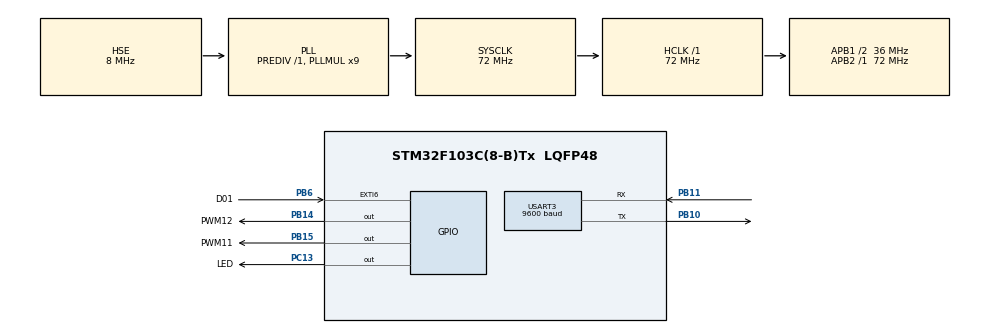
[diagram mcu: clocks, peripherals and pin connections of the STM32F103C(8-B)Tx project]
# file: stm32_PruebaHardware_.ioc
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Mcu.Family=STM32F1
Mcu.Name=STM32F103C(8-B)Tx
Mcu.Package=LQFP48
NVIC.EXTI9_5_IRQn=true\:0\:0\:false\:false\:true\:true\:true
NVIC.PriorityGroup=NVIC_PRIORITYGROUP_4
PA13.Mode=Serial_Wire
PA13.Signal=SYS_JTMS-SWDIO
PA14.Mode=Serial_Wire
PA14.Signal=SYS_JTCK-SWCLK
PB10.Mode=Asynchronous
PB10.Signal=USART3_TX
PB11.Mode=Asynchronous
PB11.Signal=USART3_RX
PB14.GPIO_Label=PWM12
PB14.Signal=GPIO_Output
PB15.GPIO_Label=PWM11
PB15.Signal=GPIO_Output
PB6.GPIO_Label=D01
PB6.Signal=GPXTI6
PC13-TAMPER-RTC.GPIO_Label=LED
PC13-TAMPER-RTC.Signal=GPIO_Output
PD0-OSC_IN.Mode=HSE-External-Oscillator
PD0-OSC_IN.Signal=RCC_OSC_IN
PD1-OSC_OUT.Mode=HSE-External-Oscillator
PD1-OSC_OUT.Signal=RCC_OSC_OUT
ProjectManager.HeapSize=0x200
ProjectManager.StackSize=0x400
ProjectManager.TargetToolchain=STM32CubeIDE
RCC.AHBFreq_Value=72000000
RCC.APB1CLKDivider=RCC_HCLK_DIV2
RCC.APB1Freq_Value=36000000
RCC.APB1TimFreq_Value=72000000
RCC.APB2Freq_Value=72000000
RCC.APB2TimFreq_Value=72000000
RCC.HCLKFreq_Value=72000000
RCC.PLLMUL=RCC_PLL_MUL9
RCC.PLLSourceVirtual=RCC_PLLSOURCE_HSE
RCC.SYSCLKFreq_VALUE=72000000
RCC.SYSCLKSource=RCC_SYSCLKSOURCE_PLLCLK
RCC.USBFreq_Value=72000000
TIM1.AutoReloadPreload=TIM_AUTORELOAD_PRELOAD_ENABLE
TIM1.Period=10000
TIM1.Prescaler=7200-1
TIM1.RepetitionCounter=0
TIM2.AutoReloadPreload=TIM_AUTORELOAD_PRELOAD_ENABLE
TIM2.ClockDivision=TIM_CLOCKDIVISION_DIV1
TIM2.Period=65535
TIM2.Prescaler=720-1
USART3.BaudRate=9600
USART3.VirtualMode=VM_ASYNC
VP_TIM1_VS_ClockSourceINT.Mode=Internal
VP_TIM2_VS_ClockSourceINT.Mode=Internal
board=custom

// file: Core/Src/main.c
/* USER CODE BEGIN Header */
/**
  ******************************************************************************
  * @file           : main.c
  * @brief          : Main program body
  ******************************************************************************
  * @attention
  *
  * <h2><center>&copy; Copyright (c) 2021 STMicroelectronics.
  * All rights reserved.</center></h2>
  *
  * This software component is licensed by ST under BSD 3-Clause license,
  * the "License"; You may not use this file except in compliance with the
  * License. You may obtain a copy of the License at:
  *                        opensource.org/licenses/BSD-3-Clause
  *
  ******************************************************************************
  */
/* USER CODE END Header */
#include "main.h"

/* USER CODE BEGIN Includes */

#include "stdio.h"
#include "string.h"
#include "stdlib.h"

/* USER CODE END Includes */

TIM_HandleTypeDef htim1;
TIM_HandleTypeDef htim2;

UART_HandleTypeDef huart3;

void SystemClock_Config(void);
static void MX_GPIO_Init(void);
static void MX_TIM1_Init(void);
static void MX_USART3_UART_Init(void);
static void MX_TIM2_Init(void);

/* USER CODE BEGIN 0 */

uint16_t ms = 1;
uint16_t pulsoprev = 0;
uint16_t pulsoact = 0;
float pi = 3.1415926; // El buen pi
//int P = 30; // Cantidad de agujeros del encoder
int Fss = 4.0; // Hz
float w1 = 0; // Velocidad en radianes por segundo (a priori)
int i=0;

int encoder = 0;
float W = 0;
char a[10];
int timer2  = 0;
char buf [8],buf1 [8];

/* USER CODE END 0 */

int main(void)
{

  /* MCU Configuration--------------------------------------------------------*/

  /* Reset of all peripherals, Initializes the Flash interface and the Systick. */
  HAL_Init();

  /* Configure the system clock */
  SystemClock_Config();

  /* Initialize all configured peripherals */
  MX_GPIO_Init();
  MX_TIM1_Init();
  MX_USART3_UART_Init();
  MX_TIM2_Init();
  /* USER CODE BEGIN 2 */

	HAL_TIM_PWM_Start(&htim1, TIM_CHANNEL_1); // Inicio las 4 PWM
//	HAL_TIM_PWM_Start(&htim1, TIM_CHANNEL_2);
//	HAL_TIM_PWM_Start(&htim1, TIM_CHANNEL_3);
//	HAL_TIM_PWM_Start(&htim1, TIM_CHANNEL_4);

	HAL_TIM_Base_Start_IT(&htim2);

	// Doy direccion de giro a los motores:
	HAL_GPIO_WritePin(PWM11_GPIO_Port, PWM11_Pin, GPIO_PIN_SET);
	HAL_GPIO_WritePin(PWM12_GPIO_Port, PWM12_Pin, GPIO_PIN_RESET);

  /* USER CODE END 2 */

  /* Infinite loop */
	while (1)
	{

    /* USER CODE BEGIN 3 */

//		htim1.Instance->CCR1 = 0;
//		htim1.Instance->CCR2 = 0;
//		htim1.Instance->CCR3 = 0;
//		htim1.Instance->CCR4 = 0;
//		htim1.Instance->CCR1 = 10000;
//		htim1.Instance->CCR2 = 10000;
//		htim1.Instance->CCR3 = 10000;
//		htim1.Instance->CCR4 = 10000;
//		HAL_Delay(1000);
//		htim1.Instance->CCR1 = 19999;
//		htim1.Instance->CCR2 = 19999;
//		htim1.Instance->CCR3 = 19999;
//		htim1.Instance->CCR4 = 19999;

		//HAL_Delay(1000);

//		timer2 = __HAL_TIM_GET_COUNTER(&htim2);
//		sprintf(buf,"Registro timer2: %d\n",timer2);
//		HAL_UART_Transmit(&huart3, (uint8_t *)buf, sizeof(buf), 100);

		HAL_GPIO_TogglePin(LED_GPIO_Port, LED_Pin);
	}
  /* USER CODE END 3 */
}

void SystemClock_Config(void)
{
  RCC_OscInitTypeDef RCC_OscInitStruct = {0};
  RCC_ClkInitTypeDef RCC_ClkInitStruct = {0};

  /** Initializes the RCC Oscillators according to the specified parameters
  * in the RCC_OscInitTypeDef structure.
  */
  RCC_OscInitStruct.OscillatorType = RCC_OSCILLATORTYPE_HSE;
  RCC_OscInitStruct.HSEState = RCC_HSE_ON;
  RCC_OscInitStruct.HSEPredivValue = RCC_HSE_PREDIV_DIV1;
  RCC_OscInitStruct.HSIState = RCC_HSI_ON;
  RCC_OscInitStruct.PLL.PLLState = RCC_PLL_ON;
  RCC_OscInitStruct.PLL.PLLSource = RCC_PLLSOURCE_HSE;
  RCC_OscInitStruct.PLL.PLLMUL = RCC_PLL_MUL9;
  if (HAL_RCC_OscConfig(&RCC_OscInitStruct) != HAL_OK)
  {
    Error_Handler();
  }
  /** Initializes the CPU, AHB and APB buses clocks
  */
  RCC_ClkInitStruct.ClockType = RCC_CLOCKTYPE_HCLK|RCC_CLOCKTYPE_SYSCLK
                              |RCC_CLOCKTYPE_PCLK1|RCC_CLOCKTYPE_PCLK2;
  RCC_ClkInitStruct.SYSCLKSource = RCC_SYSCLKSOURCE_PLLCLK;
  RCC_ClkInitStruct.AHBCLKDivider = RCC_SYSCLK_DIV1;
  RCC_ClkInitStruct.APB1CLKDivider = RCC_HCLK_DIV2;
  RCC_ClkInitStruct.APB2CLKDivider = RCC_HCLK_DIV1;

  if (HAL_RCC_ClockConfig(&RCC_ClkInitStruct, FLASH_LATENCY_2) != HAL_OK)
  {
    Error_Handler();
  }
}

static void MX_TIM1_Init(void)
{

  TIM_ClockConfigTypeDef sClockSourceConfig = {0};
  TIM_MasterConfigTypeDef sMasterConfig = {0};

  htim1.Instance = TIM1;
  htim1.Init.Prescaler = 7200-1;
  htim1.Init.CounterMode = TIM_COUNTERMODE_UP;
  htim1.Init.Period = 10000;
  htim1.Init.ClockDivision = TIM_CLOCKDIVISION_DIV1;
  htim1.Init.RepetitionCounter = 0;
  htim1.Init.AutoReloadPreload = TIM_AUTORELOAD_PRELOAD_ENABLE;
  if (HAL_TIM_Base_Init(&htim1) != HAL_OK)
  {
    Error_Handler();
  }
  sClockSourceConfig.ClockSource = TIM_CLOCKSOURCE_INTERNAL;
  if (HAL_TIM_ConfigClockSource(&htim1, &sClockSourceConfig) != HAL_OK)
  {
    Error_Handler();
  }
  sMasterConfig.MasterOutputTrigger = TIM_TRGO_RESET;
  sMasterConfig.MasterSlaveMode = TIM_MASTERSLAVEMODE_DISABLE;
  if (HAL_TIMEx_MasterConfigSynchronization(&htim1, &sMasterConfig) != HAL_OK)
  {
    Error_Handler();
  }

}

static void MX_TIM2_Init(void)
{

  TIM_ClockConfigTypeDef sClockSourceConfig = {0};
  TIM_MasterConfigTypeDef sMasterConfig = {0};

  htim2.Instance = TIM2;
  htim2.Init.Prescaler = 720-1;
  htim2.Init.CounterMode = TIM_COUNTERMODE_UP;
  htim2.Init.Period = 65535;
  htim2.Init.ClockDivision = TIM_CLOCKDIVISION_DIV1;
  htim2.Init.AutoReloadPreload = TIM_AUTORELOAD_PRELOAD_ENABLE;
  if (HAL_TIM_Base_Init(&htim2) != HAL_OK)
  {
    Error_Handler();
  }
  sClockSourceConfig.ClockSource = TIM_CLOCKSOURCE_INTERNAL;
  if (HAL_TIM_ConfigClockSource(&htim2, &sClockSourceConfig) != HAL_OK)
  {
    Error_Handler();
  }
  sMasterConfig.MasterOutputTrigger = TIM_TRGO_RESET;
  sMasterConfig.MasterSlaveMode = TIM_MASTERSLAVEMODE_DISABLE;
  if (HAL_TIMEx_MasterConfigSynchronization(&htim2, &sMasterConfig) != HAL_OK)
  {
    Error_Handler();
  }

}

static void MX_USART3_UART_Init(void)
{

  huart3.Instance = USART3;
  huart3.Init.BaudRate = 9600;
  huart3.Init.WordLength = UART_WORDLENGTH_8B;
  huart3.Init.StopBits = UART_STOPBITS_1;
  huart3.Init.Parity = UART_PARITY_NONE;
  huart3.Init.Mode = UART_MODE_TX_RX;
  huart3.Init.HwFlowCtl = UART_HWCONTROL_NONE;
  huart3.Init.OverSampling = UART_OVERSAMPLING_16;
  if (HAL_UART_Init(&huart3) != HAL_OK)
  {
    Error_Handler();
  }

}

static void MX_GPIO_Init(void)
{
  GPIO_InitTypeDef GPIO_InitStruct = {0};

  /* GPIO Ports Clock Enable */
  __HAL_RCC_GPIOC_CLK_ENABLE();
  __HAL_RCC_GPIOD_CLK_ENABLE();
  __HAL_RCC_GPIOB_CLK_ENABLE();
  __HAL_RCC_GPIOA_CLK_ENABLE();

  /*Configure GPIO pin Output Level */
  HAL_GPIO_WritePin(LED_GPIO_Port, LED_Pin, GPIO_PIN_RESET);

  /*Configure GPIO pin Output Level */
  HAL_GPIO_WritePin(GPIOB, PWM12_Pin|PWM11_Pin, GPIO_PIN_RESET);

  /*Configure GPIO pin : LED_Pin */
  GPIO_InitStruct.Pin = LED_Pin;
  GPIO_InitStruct.Mode = GPIO_MODE_OUTPUT_PP;
  GPIO_InitStruct.Pull = GPIO_NOPULL;
  GPIO_InitStruct.Speed = GPIO_SPEED_FREQ_LOW;
  HAL_GPIO_Init(LED_GPIO_Port, &GPIO_InitStruct);

  /*Configure GPIO pins : PWM12_Pin PWM11_Pin */
  GPIO_InitStruct.Pin = PWM12_Pin|PWM11_Pin;
  GPIO_InitStruct.Mode = GPIO_MODE_OUTPUT_PP;
  GPIO_InitStruct.Pull = GPIO_NOPULL;
  GPIO_InitStruct.Speed = GPIO_SPEED_FREQ_LOW;
  HAL_GPIO_Init(GPIOB, &GPIO_InitStruct);

  /*Configure GPIO pin : D01_Pin */
  GPIO_InitStruct.Pin = D01_Pin;
  GPIO_InitStruct.Mode = GPIO_MODE_IT_RISING;
  GPIO_InitStruct.Pull = GPIO_NOPULL;
  HAL_GPIO_Init(D01_GPIO_Port, &GPIO_InitStruct);

  /* EXTI interrupt init*/
  HAL_NVIC_SetPriority(EXTI9_5_IRQn, 0, 0);
  HAL_NVIC_EnableIRQ(EXTI9_5_IRQn);

}

/* USER CODE BEGIN 4 */

void HAL_GPIO_EXTI_Callback (uint16_t GPIO_Pin){

	if (GPIO_Pin == D01_Pin){
		pulsoprev = pulsoact;
		pulsoact = __HAL_TIM_GET_COUNTER(&htim2);

		if (pulsoprev > pulsoact){

			ms = 65535 - pulsoprev + pulsoact;

		}
		else {
			ms = pulsoact - pulsoprev;
		}
		float Fs = 100000.0;

////		w1 = 100000 / ((float)ms*30.0);
		w1 = (2.0*pi*Fs)/((float)ms*21.0); // En rad/seg
		//w1 = w1*60.0/(2.0*pi); // rad/seg = rad/seg * 60seg/1min * 1rev/2pirad

		///////////////////////Prueba de tamaño de buffer//////////////
		//int size = snprintf(NULL, 0,"%u",ms);
		//char *a = malloc(size+1);
		sprintf(a," %u ",ms);

		///////////////////////////////////////////////////////////
//		char *buf3=malloc(2*sizeof(pulsoact));
//		sprintf(buf1,"%u\n",ms);
//		sprintf(buf,"pulsos: %u\n", __HAL_TIM_GET_COUNTER(&htim2));
//		itoa(__HAL_TIM_GET_COUNTER(&htim2),buf,10);
//		strcat(buf,"\n");
		if(i==20){
		//if (HAL_GPIO_ReadPin(GPIOB, D01_Pin)==0){

		HAL_UART_Transmit(&huart3, (uint8_t *)a, 10, HAL_MAX_DELAY);
		//}
		i=0;
		}
		else{i++;}
		//free(a);

		encoder = encoder + 1;
	}
}

void HAL_TIM_PeriodElapsedCallback(TIM_HandleTypeDef *htim){
//
//	if (htim==&htim2){
//
//		W = (encoder/30.0)/(float)Fss; // (Cantidad de revoluciones)/(Segundos)
//		sprintf(buf,"%.2f\n",W);
//		HAL_UART_Transmit(&huart3, (uint8_t *)buf, sizeof(buf), 100);
//
//		encoder = 0;
//	}
}

/* USER CODE END 4 */

void Error_Handler(void)
{
  __disable_irq();
  while (1)
  {
  }
}

/************************ (C) COPYRIGHT STMicroelectronics *****END OF FILE****/
